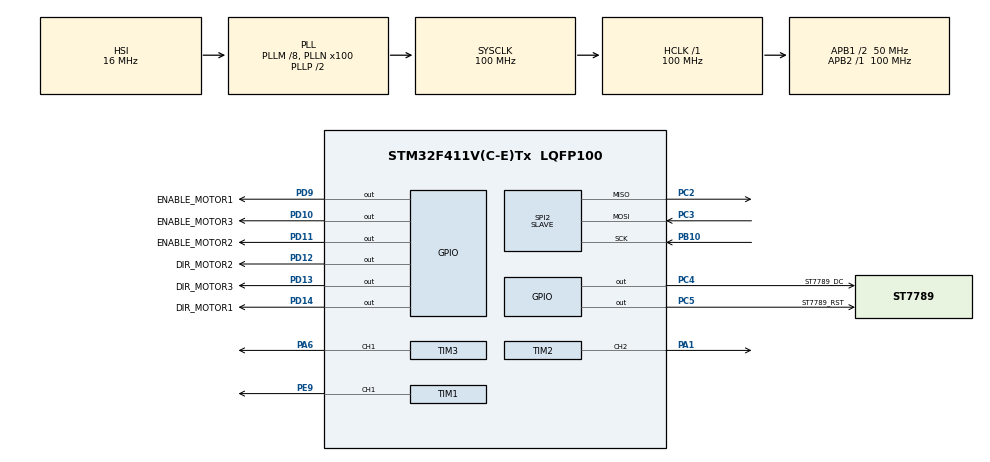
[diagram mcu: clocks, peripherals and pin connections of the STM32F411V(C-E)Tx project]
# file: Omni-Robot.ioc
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Mcu.Family=STM32F4
Mcu.Name=STM32F411V(C-E)Tx
Mcu.Package=LQFP100
NVIC.PriorityGroup=NVIC_PRIORITYGROUP_4
PA1.Signal=S_TIM2_CH2
PA13.Mode=Serial_Wire
PA13.Signal=SYS_JTMS-SWDIO
PA14.Mode=Serial_Wire
PA14.Signal=SYS_JTCK-SWCLK
PA6.Signal=S_TIM3_CH1
PB10.Mode=Full_Duplex_Slave
PB10.Signal=SPI2_SCK
PC2.Mode=Full_Duplex_Slave
PC2.Signal=SPI2_MISO
PC3.Mode=Full_Duplex_Slave
PC3.Signal=SPI2_MOSI
PC4.GPIO_Label=ST7789_DC
PC4.Signal=GPIO_Output
PC5.GPIO_Label=ST7789_RST
PC5.Signal=GPIO_Output
PD10.GPIO_Label=ENABLE_MOTOR3
PD10.PinState=GPIO_PIN_SET
PD10.Signal=GPIO_Output
PD11.GPIO_Label=ENABLE_MOTOR2
PD11.PinState=GPIO_PIN_SET
PD11.Signal=GPIO_Output
PD12.GPIO_Label=DIR_MOTOR2
PD12.Signal=GPIO_Output
PD13.GPIO_Label=DIR_MOTOR3
PD13.Signal=GPIO_Output
PD14.GPIO_Label=DIR_MOTOR1
PD14.Signal=GPIO_Output
PD9.GPIO_Label=ENABLE_MOTOR1
PD9.Signal=GPIO_Output
PE9.Signal=S_TIM1_CH1
PH0\ -\ OSC_IN.Mode=HSE-External-Oscillator
PH0\ -\ OSC_IN.Signal=RCC_OSC_IN
PH1\ -\ OSC_OUT.Mode=HSE-External-Oscillator
PH1\ -\ OSC_OUT.Signal=RCC_OSC_OUT
ProjectManager.HeapSize=0x200
ProjectManager.StackSize=0x400
ProjectManager.TargetToolchain=STM32CubeIDE
RCC.48MHZClocksFreq_Value=50000000
RCC.AHBFreq_Value=100000000
RCC.APB1CLKDivider=RCC_HCLK_DIV2
RCC.APB1Freq_Value=50000000
RCC.APB1TimFreq_Value=100000000
RCC.APB2Freq_Value=100000000
RCC.APB2TimFreq_Value=100000000
RCC.CortexFreq_Value=100000000
RCC.HCLKFreq_Value=100000000
RCC.HSE_VALUE=25000000
RCC.HSI_VALUE=16000000
RCC.LSE_VALUE=32768
RCC.PLLM=8
RCC.PLLN=100
RCC.SYSCLKFreq_VALUE=100000000
RCC.SYSCLKSource=RCC_SYSCLKSOURCE_PLLCLK
RCC.VCOOutputFreq_Value=200000000
SH.S_TIM1_CH1.0=TIM1_CH1,PWM Generation1 CH1
SH.S_TIM2_CH2.0=TIM2_CH2,PWM Generation2 CH2
SH.S_TIM3_CH1.0=TIM3_CH1,PWM Generation1 CH1
SPI2.Direction=SPI_DIRECTION_2LINES
SPI2.Mode=SPI_MODE_SLAVE
SPI2.VirtualType=VM_SLAVE
TIM1.AutoReloadPreload=TIM_AUTORELOAD_PRELOAD_ENABLE
TIM1.Channel-PWM\ Generation1\ CH1=TIM_CHANNEL_1
TIM1.Period=2000
TIM1.Prescaler=14
TIM2.AutoReloadPreload=TIM_AUTORELOAD_PRELOAD_ENABLE
TIM2.Channel-PWM\ Generation2\ CH2=TIM_CHANNEL_2
TIM2.Period=2000
TIM2.Prescaler=0
TIM2.Pulse-PWM\ Generation2\ CH2=1000
TIM3.AutoReloadPreload=TIM_AUTORELOAD_PRELOAD_ENABLE
TIM3.Channel-PWM\ Generation1\ CH1=TIM_CHANNEL_1
TIM3.OCMode_PWM-PWM\ Generation1\ CH1=TIM_OCMODE_PWM1
TIM3.Period=2000
TIM3.Prescaler=14
TIM3.Pulse-PWM\ Generation1\ CH1=1000
VP_TIM1_VS_ClockSourceINT.Mode=Internal
VP_TIM2_VS_ClockSourceINT.Mode=Internal
VP_TIM3_VS_ClockSourceINT.Mode=Internal
board=custom

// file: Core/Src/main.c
/* USER CODE BEGIN Header */
/**
 ******************************************************************************
 * @file           : main.c
 * @brief          : Main program body
 ******************************************************************************
 * @attention
 *
 * Copyright (c) 2023 STMicroelectronics.
 * All rights reserved.
 *
 * This software is licensed under terms that can be found in the LICENSE file
 * in the root directory of this software component.
 * If no LICENSE file comes with this software, it is provided AS-IS.
 *
 ******************************************************************************
 */
/* USER CODE END Header */
#include "main.h"
#include "spi.h"
#include "tim.h"
#include "gpio.h"
#include "stdlib.h"

/* USER CODE BEGIN Includes */
#include "motor.h"
#include "cinematic.h"
#include "robotparameters.h"
#include <math.h>
#include "string.h"

/* USER CODE END Includes */

/* USER CODE BEGIN PTD */
#define SPIBUFFERSIZE 11
uint8_t spiBuffer[SPIBUFFERSIZE];
/* USER CODE END PTD */

/* USER CODE BEGIN PV */
HAL_StatusTypeDef ret = HAL_OK;
uint8_t vel0[1], theta0[5], omega0[1];
int velint, thetaint, omegaint;
float vel, theta;

/* USER CODE END PV */

void SystemClock_Config(void);
/* USER CODE BEGIN PFP */
void SystemClock_Config(void);

/* USER CODE END PFP */

/* USER CODE BEGIN 0 */
MOTOR_HandleTypeDef motorUno;
MOTOR_HandleTypeDef motorDos;
MOTOR_HandleTypeDef motorTres;

/* USER CODE END 0 */

int main(void) {
	/* USER CODE BEGIN 1 */

	/*
	 *      Remove given section from string. Negative len means remove
	 *      everything up to the end.
	 */

	/* USER CODE END 1 */

	/* MCU Configuration--------------------------------------------------------*/

	/* Reset of all peripherals, Initializes the Flash interface and the Systick. */
	HAL_Init();

	/* Configure the system clock */
	SystemClock_Config();

	/* Initialize all configured peripherals */
	MX_GPIO_Init();
	MX_TIM1_Init();
	MX_TIM2_Init();
	MX_TIM3_Init();
	MX_SPI2_Init();
	/* USER CODE BEGIN 2 */

	initMotor(&motorUno, MOTOR1TIM, MOTOR1CHANNEL, ENABLE_MOTOR1_Pin,
	DIR_MOTOR1_Pin, MOTORSTEP, MOTORMAXFREQ);
	initMotor(&motorDos, MOTOR2TIM, MOTOR2CHANNEL, ENABLE_MOTOR2_Pin,
	DIR_MOTOR2_Pin, MOTORSTEP, MOTORMAXFREQ);
	initMotor(&motorTres, MOTOR3TIM, MOTOR3CHANNEL, ENABLE_MOTOR3_Pin,
	DIR_MOTOR3_Pin, MOTORSTEP, MOTORMAXFREQ);

	HAL_Delay(500);

	/* USER CODE END 2 */

	/* Infinite loop */
	/* USER CODE BEGIN WHILE */
	while (1) {

		ret = HAL_SPI_Receive(&hspi2, spiBuffer, SPIBUFFERSIZE, HAL_MAX_DELAY);
		if (ret != HAL_OK) {
			while (1)
				;
		}

		/*
		 * 0  1  2  3  4  5  6  7  8  9  10
		 * :  1  1  1  1  1  :  1  :  1  ;
		 * */
		theta0[0] = spiBuffer[1];
		theta0[1] = spiBuffer[2];
		theta0[2] = spiBuffer[3];
		theta0[3] = spiBuffer[4];
		theta0[4] = spiBuffer[5];
		vel0[0] = spiBuffer[7];
		omega0[0] = spiBuffer[9];

		thetaint = atoi((char*) theta0); //char to int
		velint = atoi((char*) vel0); //char to int
		omegaint = atoi((char*) omega0);

		theta = thetaint/10000.0;
		vel = velint/10.0;

		if(omegaint == 2){
			omegaint = -1;
		}

		moveRobot(vel, theta, omegaint);

		/* USER CODE END WHILE */

	}
}

void SystemClock_Config(void) {
	RCC_OscInitTypeDef RCC_OscInitStruct = { 0 };
	RCC_ClkInitTypeDef RCC_ClkInitStruct = { 0 };

	/** Configure the main internal regulator output voltage
	 */
	__HAL_RCC_PWR_CLK_ENABLE();
	__HAL_PWR_VOLTAGESCALING_CONFIG(PWR_REGULATOR_VOLTAGE_SCALE1);

	/** Initializes the RCC Oscillators according to the specified parameters
	 * in the RCC_OscInitTypeDef structure.
	 */
	RCC_OscInitStruct.OscillatorType = RCC_OSCILLATORTYPE_HSI;
	RCC_OscInitStruct.HSIState = RCC_HSI_ON;
	RCC_OscInitStruct.HSICalibrationValue = RCC_HSICALIBRATION_DEFAULT;
	RCC_OscInitStruct.PLL.PLLState = RCC_PLL_ON;
	RCC_OscInitStruct.PLL.PLLSource = RCC_PLLSOURCE_HSI;
	RCC_OscInitStruct.PLL.PLLM = 8;
	RCC_OscInitStruct.PLL.PLLN = 100;
	RCC_OscInitStruct.PLL.PLLP = RCC_PLLP_DIV2;
	RCC_OscInitStruct.PLL.PLLQ = 4;
	if (HAL_RCC_OscConfig(&RCC_OscInitStruct) != HAL_OK) {
		Error_Handler();
	}

	/** Initializes the CPU, AHB and APB buses clocks
	 */
	RCC_ClkInitStruct.ClockType = RCC_CLOCKTYPE_HCLK | RCC_CLOCKTYPE_SYSCLK
			| RCC_CLOCKTYPE_PCLK1 | RCC_CLOCKTYPE_PCLK2;
	RCC_ClkInitStruct.SYSCLKSource = RCC_SYSCLKSOURCE_PLLCLK;
	RCC_ClkInitStruct.AHBCLKDivider = RCC_SYSCLK_DIV1;
	RCC_ClkInitStruct.APB1CLKDivider = RCC_HCLK_DIV2;
	RCC_ClkInitStruct.APB2CLKDivider = RCC_HCLK_DIV1;

	if (HAL_RCC_ClockConfig(&RCC_ClkInitStruct, FLASH_LATENCY_3) != HAL_OK) {
		Error_Handler();
	}
}

void Error_Handler(void) {
	__disable_irq();
	while (1) {
	}
}
